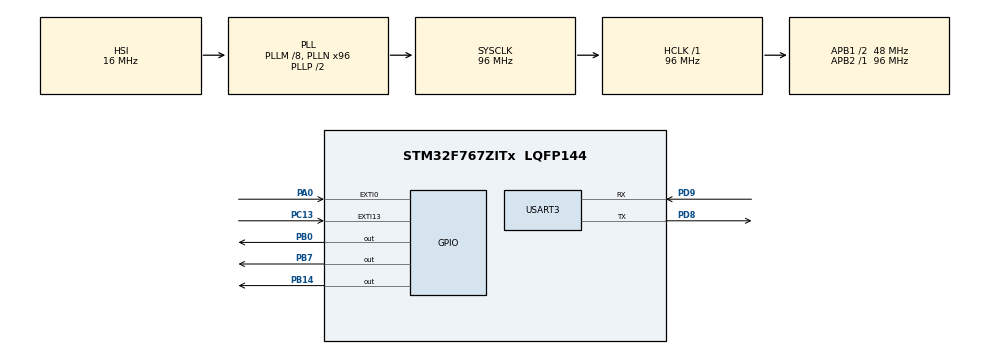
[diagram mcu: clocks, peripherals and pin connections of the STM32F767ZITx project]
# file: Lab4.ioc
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Mcu.Family=STM32F7
Mcu.Name=STM32F767ZITx
Mcu.Package=LQFP144
NVIC.EXTI0_IRQn=true\:2\:0\:true\:false\:true\:true\:true\:true
NVIC.EXTI15_10_IRQn=true\:2\:2\:true\:false\:true\:true\:true\:true
NVIC.PriorityGroup=NVIC_PRIORITYGROUP_2
PA0/WKUP.GPIO_ModeDefaultEXTI=GPIO_MODE_IT_FALLING
PA0/WKUP.Signal=GPXTI0
PB0.Signal=GPIO_Output
PB14.Signal=GPIO_Output
PB7.Signal=GPIO_Output
PC13.Signal=GPXTI13
PD8.Mode=Asynchronous
PD8.Signal=USART3_TX
PD9.Mode=Asynchronous
PD9.Signal=USART3_RX
ProjectManager.HeapSize=0x200
ProjectManager.StackSize=0x400
ProjectManager.TargetToolchain=STM32CubeIDE
RCC.48MHZClocksFreq_Value=24000000
RCC.AHBFreq_Value=96000000
RCC.APB1CLKDivider=RCC_HCLK_DIV2
RCC.APB1Freq_Value=48000000
RCC.APB1TimFreq_Value=96000000
RCC.APB2Freq_Value=96000000
RCC.APB2TimFreq_Value=96000000
RCC.CortexFreq_Value=96000000
RCC.HCLKFreq_Value=96000000
RCC.HSE_VALUE=8000000
RCC.HSI_VALUE=16000000
RCC.LSE_VALUE=32768
RCC.PLLM=8
RCC.PLLMUL=RCC_PLL_MUL9
RCC.PLLN=96
RCC.PLLQ=4
RCC.PRESCALERUSB=RCC_USBCLKSOURCE_PLL_DIV1_5
RCC.SYSCLKFreq_VALUE=96000000
RCC.SYSCLKSource=RCC_SYSCLKSOURCE_PLLCLK
RCC.SYSCLKSourceVirtual=RCC_SYSCLKSOURCE_PLLCLK
RCC.USBFreq_Value=48000000
RCC.VCOOutputFreq_Value=192000000
USART3.VirtualMode-Asynchronous=VM_ASYNC
board=NUCLEO-F767ZI

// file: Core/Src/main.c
/* USER CODE BEGIN Header */
/**
  ******************************************************************************
  * @file           : main.c
  * @brief          : Main program body
  ******************************************************************************
  * @attention
  *
  * Copyright (c) 2025 STMicroelectronics.
  * All rights reserved.
  *
  * This software is licensed under terms that can be found in the LICENSE file
  * in the root directory of this software component.
  * If no LICENSE file comes with this software, it is provided AS-IS.
  *
  ******************************************************************************
  */
/* USER CODE END Header */
#include "main.h"
#include "usart.h"
#include "gpio.h"

void SystemClock_Config(void);

int main(void)
{

  /* MCU Configuration--------------------------------------------------------*/

  /* Reset of all peripherals, Initializes the Flash interface and the Systick. */
  HAL_Init();

  /* Configure the system clock */
  SystemClock_Config();

  /* Initialize all configured peripherals */
  MX_GPIO_Init();
  MX_USART3_UART_Init();

  /* Infinite loop */
  while (1)
  {

    /* USER CODE BEGIN 3 */
    while(__HAL_UART_GET_FLAG(&huart3, UART_FLAG_TC)==RESET){}
    HAL_UART_Transmit(&huart3, (uint8_t*)".", 1, 1000);
    HAL_Delay(400);
  }
  /* USER CODE END 3 */
}

void SystemClock_Config(void)
{
  RCC_OscInitTypeDef RCC_OscInitStruct = {0};
  RCC_ClkInitTypeDef RCC_ClkInitStruct = {0};

  /** Configure the main internal regulator output voltage
  */
  __HAL_RCC_PWR_CLK_ENABLE();
  __HAL_PWR_VOLTAGESCALING_CONFIG(PWR_REGULATOR_VOLTAGE_SCALE3);

  /** Initializes the RCC Oscillators according to the specified parameters
  * in the RCC_OscInitTypeDef structure.
  */
  RCC_OscInitStruct.OscillatorType = RCC_OSCILLATORTYPE_HSI;
  RCC_OscInitStruct.HSIState = RCC_HSI_ON;
  RCC_OscInitStruct.HSICalibrationValue = RCC_HSICALIBRATION_DEFAULT;
  RCC_OscInitStruct.PLL.PLLState = RCC_PLL_ON;
  RCC_OscInitStruct.PLL.PLLSource = RCC_PLLSOURCE_HSI;
  RCC_OscInitStruct.PLL.PLLM = 8;
  RCC_OscInitStruct.PLL.PLLN = 96;
  RCC_OscInitStruct.PLL.PLLP = RCC_PLLP_DIV2;
  RCC_OscInitStruct.PLL.PLLQ = 4;
  RCC_OscInitStruct.PLL.PLLR = 2;
  if (HAL_RCC_OscConfig(&RCC_OscInitStruct) != HAL_OK)
  {
    Error_Handler();
  }

  /** Activate the Over-Drive mode
  */
  if (HAL_PWREx_EnableOverDrive() != HAL_OK)
  {
    Error_Handler();
  }

  /** Initializes the CPU, AHB and APB buses clocks
  */
  RCC_ClkInitStruct.ClockType = RCC_CLOCKTYPE_HCLK|RCC_CLOCKTYPE_SYSCLK
                              |RCC_CLOCKTYPE_PCLK1|RCC_CLOCKTYPE_PCLK2;
  RCC_ClkInitStruct.SYSCLKSource = RCC_SYSCLKSOURCE_PLLCLK;
  RCC_ClkInitStruct.AHBCLKDivider = RCC_SYSCLK_DIV1;
  RCC_ClkInitStruct.APB1CLKDivider = RCC_HCLK_DIV2;
  RCC_ClkInitStruct.APB2CLKDivider = RCC_HCLK_DIV1;

  if (HAL_RCC_ClockConfig(&RCC_ClkInitStruct, FLASH_LATENCY_3) != HAL_OK)
  {
    Error_Handler();
  }
}

/* USER CODE BEGIN 4 */
void __interruptPrint(char c){
  HAL_UART_Transmit(&huart3, (uint8_t*)"---", 3, 100);
  HAL_Delay(200);

  for (int i=0; i<20; i++){
    HAL_UART_Transmit(&huart3, (uint8_t*)&c, 1, 100);
    HAL_Delay(200);
  }
}

void HAL_GPIO_EXTI_Callback(uint16_t GPIO_PIN){
  if (GPIO_PIN == GPIO_PIN_13){
    __interruptPrint('B');
  } else if (GPIO_PIN == GPIO_PIN_0){
    HAL_GPIO_TogglePin(GPIOB, GPIO_PIN_14);
    __interruptPrint('E');
  }
}
/* USER CODE END 4 */

void Error_Handler(void)
{
  __disable_irq();
  while (1)
  {
  }
}
